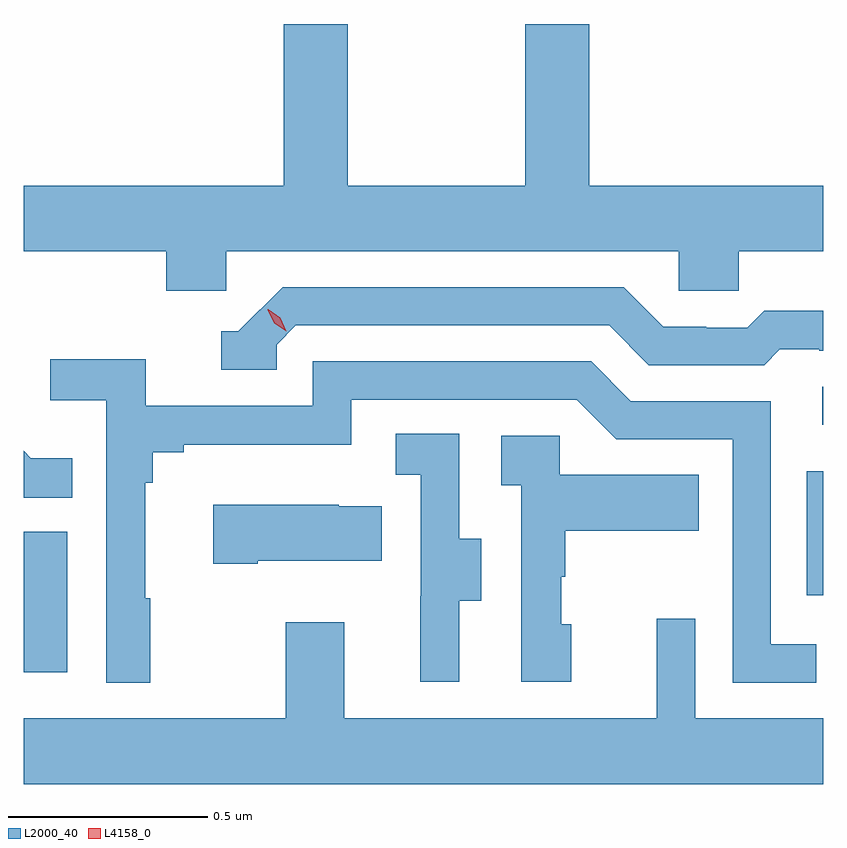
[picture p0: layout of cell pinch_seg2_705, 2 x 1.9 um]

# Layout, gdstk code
import gdstk
lib = gdstk.Library(unit=1e-6, precision=1e-09)
def R(c, l, rs):  # rectangles x0, y0, x1, y1
    for r in rs: c.add(gdstk.rectangle(r[:2], r[2:], *l))
def P(c, l, *ps):  # polygons
    for p in ps: c.add(gdstk.Polygon(p, *l))
L2000_40 = (2000, 40)
L4158_0 = (4158, 0)

pinch_seg2_705 = lib.new_cell('pinch_seg2_705')
R(pinch_seg2_705, L2000_40, [(1098.015,598.632,1098.124,598.983), (1099.974,598.824,1100.015,599.134), (1100.013,599.25,1100.015,599.346)])
P(pinch_seg2_705, L2000_40, [(1098.522,599.684),(1099.653,599.684),(1099.653,599.586),(1099.803,599.586),(1099.803,599.684),(1100.015,599.684),(1100.015,599.848),(1099.43,599.848),(1099.43,600.253),(1099.27,600.253),(1099.27,599.848),(1098.825,599.848),(1098.825,600.253),(1098.665,600.253),(1098.665,599.848),(1098.015,599.848),(1098.015,599.684),(1098.371,599.684),(1098.371,599.586),(1098.522,599.586)],
  [(1098.648,599.451),(1098.696,599.499),(1099.479,599.499),(1099.578,599.4),(1099.867,599.4),(1099.906,599.439),(1100.005,599.439),(1100.005,599.436),(1100.015,599.436),(1100.015,599.536),(1099.867,599.536),(1099.825,599.493),(1099.722,599.493),(1099.722,599.496),(1099.615,599.496),(1099.516,599.595),(1098.663,599.595),(1098.552,599.484),(1098.509,599.484),(1098.509,599.388),(1098.648,599.388)],
  [(1098.331,598.817),(1098.319,598.817),(1098.319,599.105),(1098.338,599.105),(1098.338,599.182),(1098.415,599.182),(1098.415,599.201),(1098.834,599.201),(1098.834,599.313),(1099.398,599.313),(1099.497,599.214),(1099.788,599.214),(1099.788,598.605),(1099.997,598.605),(1099.997,598.701),(1099.884,598.701),(1099.884,599.31),(1099.534,599.31),(1099.435,599.409),(1098.738,599.409),(1098.738,599.298),(1098.32,599.298),(1098.32,599.414),(1098.081,599.414),(1098.081,599.312),(1098.222,599.312),(1098.222,598.605),(1098.331,598.605)],
  [(1099.105,598.81),(1099.159,598.81),(1099.159,598.965),(1099.104,598.965),(1099.104,599.228),(1098.945,599.228),(1098.945,599.125),(1099.008,599.125),(1099.008,598.821),(1099.007,598.821),(1099.007,598.608),(1099.105,598.608)],
  [(1099.384,598.752),(1099.359,598.752),(1099.359,598.871),(1099.369,598.871),(1099.369,598.985),(1099.703,598.985),(1099.703,599.125),(1099.356,599.125),(1099.356,599.223),(1099.209,599.223),(1099.209,599.099),(1099.26,599.099),(1099.26,598.608),(1099.384,598.608)],
  [(1098.137,599.167),(1098.033,599.167),(1098.015,599.185),(1098.015,599.068),(1098.137,599.068)],
  [(1098.601,598.91),(1098.911,598.91),(1098.911,599.047),(1098.803,599.047),(1098.803,599.05),(1098.489,599.05),(1098.489,598.903),(1098.601,598.903)],
  [(1100.015,598.516),(1099.695,598.516),(1099.695,598.765),(1099.598,598.765),(1099.598,598.516),(1098.817,598.516),(1098.817,598.756),(1098.67,598.756),(1098.67,598.516),(1098.015,598.516),(1098.015,598.352),(1100.015,598.352)])
P(pinch_seg2_705, L4158_0, [(1098.672,599.485),(1098.642,599.505),(1098.626,599.538),(1098.626,599.539),(1098.627,599.539),(1098.657,599.518),(1098.672,599.485),(1098.672,599.485)])

lib.write_gds('pinch_seg2_705.gds')
